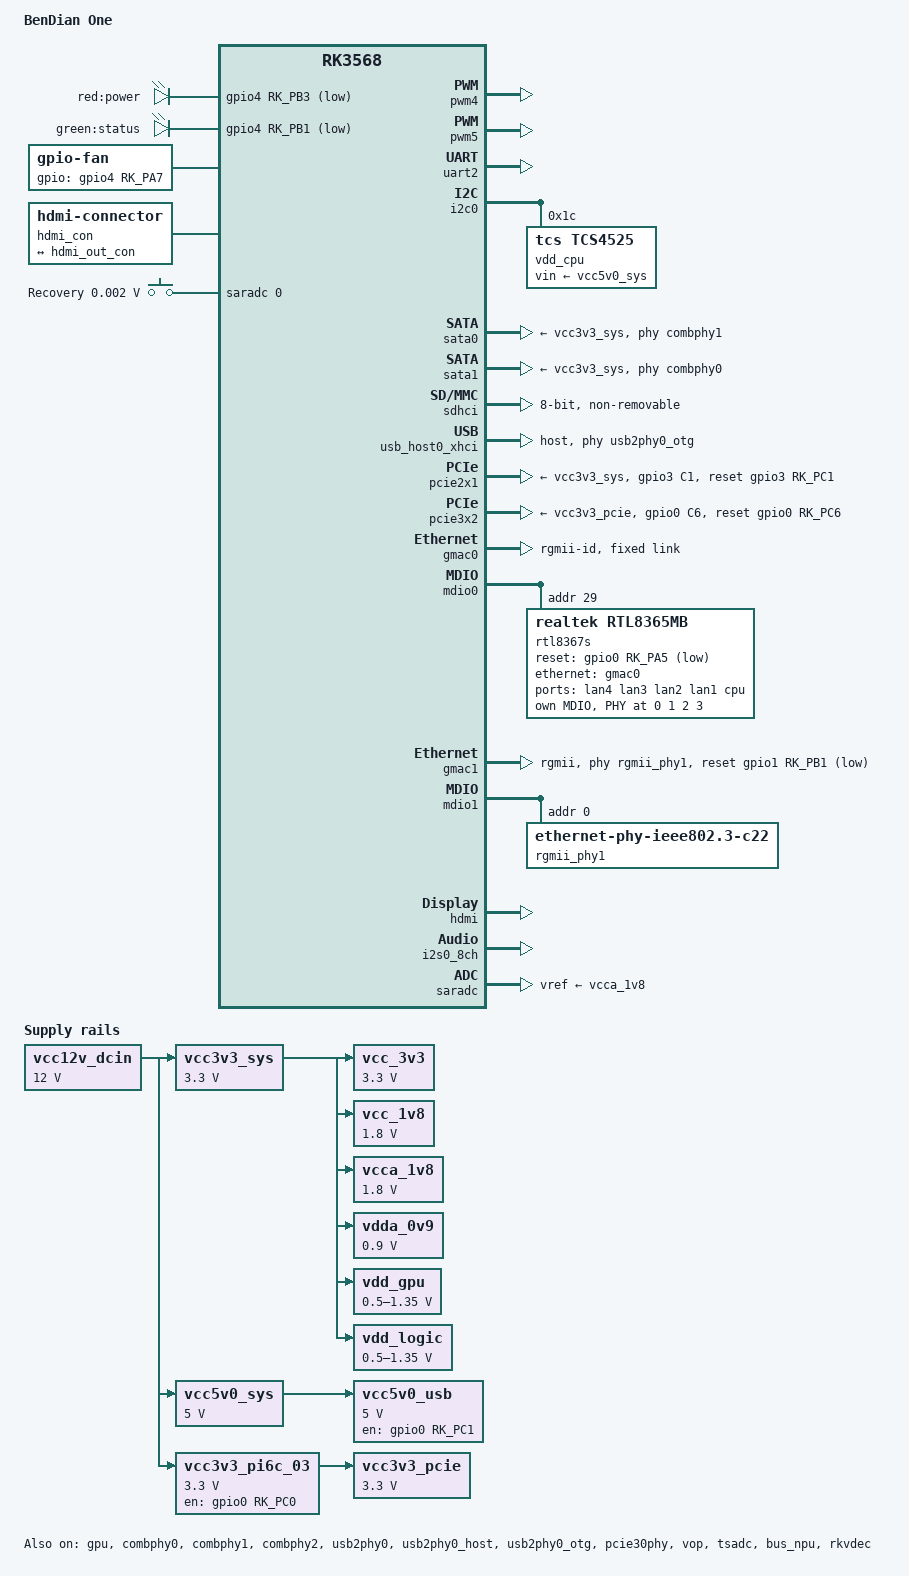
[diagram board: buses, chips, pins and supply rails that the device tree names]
// SPDX-License-Identifier: (GPL-2.0+ OR MIT)
/*
 * Device Tree for BenDian One (RK3568) - Mainline Linux 6.x Edition
 */

/dts-v1/;

#include <dt-bindings/gpio/gpio.h>
#include <dt-bindings/pwm/pwm.h>
#include <dt-bindings/input/input.h>
#include <dt-bindings/leds/common.h>
#include <dt-bindings/pinctrl/rockchip.h>
#include <dt-bindings/soc/rockchip,vop2.h>
#include <dt-bindings/thermal/thermal.h>
#include <dt-bindings/phy/phy.h>
#include "rk3568.dtsi"
#include "rk3568-vngpu.dtsi"
#include "rk3568-ramoops.dtsi"

/ {
    model = "BenDian One";
    compatible = "bendian,bd-one", "rockchip,rk3568";

    /* 正确的网卡主次：独立千兆为 WAN (ethernet0)，4口交换机为 LAN (ethernet1) */
    aliases {
        ethernet0 = &gmac0;
        ethernet1 = &gmac1;
        mmc0 = &sdhci;
        serial2 = &uart2;
    };

    chosen {
        stdout-path = "serial2:1500000n8";
    };

    reserved-memory {
        #address-cells = <2>;
        #size-cells = <2>;
        ranges;

        linux,cma {
            compatible = "shared-dma-pool";
            reusable;
            size = <0x0 0x10000000>; /* 256MB */
            linux,cma-default;
        };
    };

    /* 状态指示灯 */
    gpio-leds {
        compatible = "gpio-leds";
        pinctrl-names = "default";
        pinctrl-0 = <&power_led_pin &status_led_pin>;

        led_power: led-0 {
            label = "red:power";
            gpios = <&gpio4 RK_PB3 GPIO_ACTIVE_LOW>;
            default-state = "on";
        };

        led-1 {
            label = "green:status";
            gpios = <&gpio4 RK_PB1 GPIO_ACTIVE_LOW>;
            linux,default-trigger = "heartbeat";
        };
    };

    /* 温控风扇 */
    fan: gpio-fan {
        compatible = "gpio-fan";
        pinctrl-names = "default";
        pinctrl-0 = <&fan_pins>;
        gpios = <&gpio4 RK_PA7 GPIO_ACTIVE_HIGH>;
        gpio-fan,speed-map = <0 0>, <7500 1>;
        #cooling-cells = <2>;
        cooling-min-level = <0>;
        cooling-max-level = <1>;
        status = "okay";
    };

    hdmi_con: hdmi-con {
        compatible = "hdmi-connector";
        type = "a";
	status = "okay";

        port {
            hdmi_con_in: endpoint {
                remote-endpoint = <&hdmi_out_con>;
            };
        };
    };

    hdmi-sound {
        compatible = "simple-audio-card";
        simple-audio-card,name = "HDMI";
        simple-audio-card,format = "i2s";
        simple-audio-card,mclk-fs = <256>;
        status = "okay";

        simple-audio-card,codec {
            sound-dai = <&hdmi>;
        };

        simple-audio-card,cpu {
            sound-dai = <&i2s0_8ch>;
        };
    };

    adc-keys {
        compatible = "adc-keys";
        io-channels = <&saradc 0>;
        io-channel-names = "buttons";
        keyup-threshold-microvolt = <1800000>;
        poll-interval = <100>;

        button-recovery {
            label = "Recovery";
            linux,code = <KEY_VENDOR>;
            press-threshold-microvolt = <1750>;
        };
    };

    /* 电源架构总线 */
    vcc12v_dcin: vcc12v-dcin {
        compatible = "regulator-fixed";
        regulator-name = "vcc12v_dcin";
        regulator-always-on;
        regulator-boot-on;
        regulator-min-microvolt = <12000000>;
        regulator-max-microvolt = <12000000>;
    };

    vcc3v3_sys: vcc3v3-sys {
        compatible = "regulator-fixed";
        regulator-name = "vcc3v3_sys";
        regulator-always-on;
        regulator-boot-on;
        regulator-min-microvolt = <3300000>;
        regulator-max-microvolt = <3300000>;
        vin-supply = <&vcc12v_dcin>;
    };

    vcc5v0_sys: vcc5v0-sys {
        compatible = "regulator-fixed";
        regulator-name = "vcc5v0_sys";
        regulator-always-on;
        regulator-boot-on;
        regulator-min-microvolt = <5000000>;
        regulator-max-microvolt = <5000000>;
        vin-supply = <&vcc12v_dcin>;
    };

vcc5v0_usb: vcc5v0-usb {
    compatible = "regulator-fixed";
    regulator-name = "vcc5v0_usb";
    enable-active-high;
    gpio = <&gpio0 RK_PC1 GPIO_ACTIVE_HIGH>;
    pinctrl-names = "default";
    pinctrl-0 = <&usb_pwr_en>;

    regulator-boot-on;
    regulator-always-on;

    regulator-min-microvolt = <5000000>;
    regulator-max-microvolt = <5000000>;
    vin-supply = <&vcc5v0_sys>;
    startup-delay-us = <1000000>;

    regulator-state-mem {
        regulator-off-in-suspend;
    };
};

    vcc_3v3: vcc-3v3 {
        compatible = "regulator-fixed";
        regulator-name = "vcc_3v3";
        regulator-always-on;
        regulator-boot-on;
        regulator-min-microvolt = <3300000>;
        regulator-max-microvolt = <3300000>;
        vin-supply = <&vcc3v3_sys>;
    };

    vcc_1v8: vcc-1v8 {
        compatible = "regulator-fixed";
        regulator-name = "vcc_1v8";
        regulator-always-on;
        regulator-boot-on;
        regulator-min-microvolt = <1800000>;
        regulator-max-microvolt = <1800000>;
        vin-supply = <&vcc3v3_sys>;
    };

    vcca_1v8: vcca-1v8 {
        compatible = "regulator-fixed";
        regulator-name = "vcca_1v8";
        regulator-always-on;
        regulator-boot-on;
        regulator-min-microvolt = <1800000>;
        regulator-max-microvolt = <1800000>;
        vin-supply = <&vcc3v3_sys>;
    };

    vdda_0v9: vdda-0v9 {
        compatible = "regulator-fixed";
        regulator-name = "vdda_0v9";
        regulator-always-on;
        regulator-boot-on;
        regulator-min-microvolt = <900000>;
        regulator-max-microvolt = <900000>;
        vin-supply = <&vcc3v3_sys>;
    };

    /* NVMe SSD 独立供电链 */
    vcc3v3_pi6c_03: vcc3v3-pi6c-03 {
        compatible = "regulator-fixed";
        regulator-name = "vcc3v3_pi6c_03";
        enable-active-high;
        gpio = <&gpio0 RK_PC0 GPIO_ACTIVE_HIGH>;
        pinctrl-names = "default";
        pinctrl-0 = <&ssd_pwr_en>;
        regulator-min-microvolt = <3300000>;
        regulator-max-microvolt = <3300000>;
        vin-supply = <&vcc12v_dcin>;
        startup-delay-us = <200000>;
    };

    vcc3v3_pcie: vcc3v3-pcie {
        compatible = "regulator-fixed";
        regulator-name = "vcc3v3_pcie";
        regulator-always-on;
        regulator-boot-on;
        regulator-min-microvolt = <3300000>;
        regulator-max-microvolt = <3300000>;
        vin-supply = <&vcc3v3_pi6c_03>;
    };

    /* 真实硬件：PWM4 调压 GPU */
    vdd_gpu: vdd-gpu {
        compatible = "pwm-regulator";
        pwms = <&pwm4 0 5000 1>;
        pwm-supply = <&vcc3v3_sys>;
        regulator-name = "vdd_gpu";
        regulator-always-on;
        regulator-boot-on;
        regulator-init-microvolt = <900000>;
        regulator-min-microvolt = <500000>;
        regulator-max-microvolt = <1350000>;
        regulator-ramp-delay = <6001>;
        regulator-settling-time-up-us = <250>;
    };

    /* 真实硬件：PWM5 调压 Logic */
    vdd_logic: vdd-logic {
        compatible = "pwm-regulator";
        pwms = <&pwm5 0 5000 1>;
        pwm-supply = <&vcc3v3_sys>;
        regulator-name = "vdd_logic";
        regulator-always-on;
        regulator-boot-on;
        regulator-init-microvolt = <900000>;
        regulator-min-microvolt = <500000>;
        regulator-max-microvolt = <1350000>;
        regulator-ramp-delay = <6001>;
        regulator-settling-time-up-us = <250>;
    };
};

/* 开启用于调压的硬件 PWM4 & PWM5 */
&pwm4 { status = "okay"; };
&pwm5 { status = "okay"; };

/* 彻底禁用占用了 WAN 口引脚的 UART3，以及不存在的 I2C5/UART5 */
&uart3 { status = "disabled"; };
&uart5 { status = "disabled"; };
&i2c5 {
    /delete-property/ pinctrl-names;
    /delete-property/ pinctrl-0;
    status = "disabled";
};
&uart2 { status = "okay"; };

/* CPU 电源管理：板载真实 TCS4525 */
&i2c0 {
    status = "okay";

    vdd_cpu: regulator@1c {
        compatible = "tcs,tcs4525";
        reg = <0x1c>;
        fcs,suspend-voltage-selector = <1>;
        regulator-name = "vdd_cpu";
        regulator-always-on;
        regulator-boot-on;
        regulator-init-microvolt = <900000>;
        regulator-min-microvolt = <712500>;
        regulator-max-microvolt = <1390000>;
        regulator-ramp-delay = <2300>;
        vin-supply = <&vcc5v0_sys>;

        regulator-state-mem {
            regulator-off-in-suspend;
        };
    };
};

&cpu0 { cpu-supply = <&vdd_cpu>; };
&cpu1 { cpu-supply = <&vdd_cpu>; };
&cpu2 { cpu-supply = <&vdd_cpu>; };
&cpu3 { cpu-supply = <&vdd_cpu>; };

/* GPU：挂载 PWM4 调压轨，支持主线内核 Panfrost 驱动 */
&gpu {
    mali-supply = <&vdd_gpu>;
    status = "okay";
};

/* Combo PHY */
&combphy0 { status = "okay"; };
&combphy1 { status = "okay"; };
&combphy2 { status = "okay"; };

/* 双原生 SATA */
&sata0 {
    status = "okay";
    ahci-supply = <&vcc3v3_sys>;
    phy-supply = <&vcc3v3_sys>;
    target-supply = <&vcc3v3_sys>;
    phys = <&combphy1 PHY_TYPE_SATA>;
    phy-names = "sata-phy";
};

&sata1 {
    status = "okay";
    ahci-supply = <&vcc3v3_sys>;
    phy-supply = <&vcc3v3_sys>;
    target-supply = <&vcc3v3_sys>;
    phys = <&combphy0 PHY_TYPE_SATA>;
    phy-names = "sata-phy";
};

/* eMMC */
&sdhci {
    bus-width = <8>;
    max-frequency = <200000000>;
    non-removable;
    mmc-hs200-1_8v;
    pinctrl-names = "default";
    pinctrl-0 = <&emmc_bus8 &emmc_clk &emmc_cmd>;
    status = "okay";
};

/* USB 控制器 */
&usb2phy0 { status = "okay"; };
&usb2phy0_host {
    phy-supply = <&vcc5v0_usb>;
    status = "okay";
};
&usb2phy0_otg {
    phy-supply = <&vcc5v0_usb>;
    status = "okay";
};

&usb_host0_xhci {
    dr_mode = "host";
    phys = <&usb2phy0_otg>, <&usb2phy0_host>;
    phy-names = "usb2-phy", "usb2-phy";
    extcon = <&usb2phy0>;
    maximum-speed = "high-speed";
    snps,dis_u2_susphy_quirk;
    status = "okay";
};

&usb_host0_ehci { status = "disabled"; };
&usb_host0_ohci { status = "disabled"; };
&usb2phy1 { status = "disabled"; };

/* PCIe */
&pcie2x1 {
    reset-gpios = <&gpio3 RK_PC1 GPIO_ACTIVE_HIGH>;
    vpcie3v3-supply = <&vcc3v3_sys>;
    pinctrl-names = "default";
    pinctrl-0 = <&pcie20_reset_pin>;
    status = "okay";
};

&pcie30phy { status = "okay"; };
&pcie3x2 {
    reset-gpios = <&gpio0 RK_PC6 GPIO_ACTIVE_HIGH>;
    vpcie3v3-supply = <&vcc3v3_pcie>;
    pinctrl-names = "default";
    pinctrl-0 = <&pcie30_reset_pin>;
    rockchip,perst-inactive-ms = <500>;
/* 暂不使用旧 BSP 的 PCIe ranges，先测试 Linux 6.x 默认窗口映射。 */
/*
ranges = <0x01000000 0x00 0xf0100000 0x00 0xf0100000 0x00 0x00100000>,
         <0x02000000 0x00 0xf0200000 0x00 0xf0200000 0x00 0x01e00000>,
         <0x03000000 0x00 0x40000000 0x03 0x80000000 0x00 0x40000000>;
*/
    status = "okay";
};

/* GMAC0: 4口交换机 (LAN1~LAN4) */
&gmac0 {
    assigned-clocks = <&cru SCLK_GMAC0_RX_TX>, <&cru SCLK_GMAC0>;
    assigned-clock-parents = <&cru SCLK_GMAC0_RGMII_SPEED>, <&cru CLK_MAC0_2TOP>;
    assigned-clock-rates = <0>, <125000000>;
    clock_in_out = "output";
    phy-mode = "rgmii-id";
    pinctrl-names = "default";
    pinctrl-0 = <&gmac0_miim &gmac0_tx_bus2 &gmac0_rx_bus2 &gmac0_rgmii_clk &gmac0_rgmii_bus>;
    tx_delay = <0x3c>;
    rx_delay = <0x2f>;
    status = "okay";

    fixed-link {
        speed = <1000>;
        full-duplex;
    };
};

&mdio0 {
    compatible = "snps,dwmac-mdio";
    #address-cells = <1>;
    #size-cells = <0>;

    rtl8367s: switch@1d {
        compatible = "realtek,rtl8365mb";
        reg = <0x1d>;
        reset-gpios = <&gpio0 RK_PA5 GPIO_ACTIVE_LOW>;
        reset-assert-us = <50000>;
        reset-deassert-us = <200000>;
        pinctrl-names = "default";
        pinctrl-0 = <&gmac0_reset>;

        switch_intc: interrupt-controller {
            #address-cells = <0>;
            #interrupt-cells = <1>;
            interrupt-controller;
        };

        mdio {
            compatible = "realtek,smi-mdio";
            #address-cells = <1>;
            #size-cells = <0>;

            phy0: ethernet-phy@0 { reg = <0>; };
            phy1: ethernet-phy@1 { reg = <1>; };
            phy2: ethernet-phy@2 { reg = <2>; };
            phy3: ethernet-phy@3 { reg = <3>; };
        };

        ports {
            #address-cells = <1>;
            #size-cells = <0>;

            port@0 {
                reg = <0>;
                label = "lan4";
                phy-mode = "internal";
                phy-handle = <&phy0>;
            };

            port@1 {
                reg = <1>;
                label = "lan3";
                phy-mode = "internal";
                phy-handle = <&phy1>;
            };

            port@2 {
                reg = <2>;
                label = "lan2";
                phy-mode = "internal";
                phy-handle = <&phy2>;
            };

            port@3 {
                reg = <3>;
                label = "lan1";
                phy-mode = "internal";
                phy-handle = <&phy3>;
            };

            port@7 {
                reg = <7>;
                label = "cpu";
                ethernet = <&gmac0>;
                phy-mode = "rgmii-id";

                fixed-link {
                    speed = <1000>;
                    full-duplex;
                };
            };
        };
    };
};

/* GMAC1: 独立千兆 WAN 口 (解除引脚冲突) */
&gmac1 {
    assigned-clocks = <&cru SCLK_GMAC1_RX_TX>, <&cru SCLK_GMAC1>;
    assigned-clock-parents = <&cru SCLK_GMAC1_RGMII_SPEED>;
    assigned-clock-rates = <0>, <125000000>;
    clock_in_out = "output";
    phy-mode = "rgmii";
    phy-handle = <&rgmii_phy1>;
    pinctrl-names = "default";
    pinctrl-0 = <&gmac1m0_miim &gmac1m0_tx_bus2 &gmac1m0_rx_bus2 &gmac1m0_rgmii_clk &gmac1m0_rgmii_bus>;
    snps,reset-gpio = <&gpio1 RK_PB1 GPIO_ACTIVE_LOW>;
    snps,reset-active-low;
    snps,reset-delays-us = <0 20000 100000>;
    tx_delay = <0x30>;
    rx_delay = <0x10>;
    status = "okay";
};

&mdio1 {
    rgmii_phy1: ethernet-phy@0 {
        compatible = "ethernet-phy-ieee802.3-c22";
        reg = <0>;
        realtek,led-data = <0x17b>;
    };
};

/* CPU 温控 */
&cpu_thermal {


    polling-delay = <1000>;
    polling-delay-passive = <250>;

    /delete-node/ trips;
    /delete-node/ cooling-maps;

    trips {
        /* 65°C 开全速；温度低于 60°C 才停止 */
        cpu_fan_on: cpu-fan-on {
            temperature = <65000>;
            hysteresis = <5000>;
            type = "active";
        };

        /* 75°C 开始温和限频 */
        cpu_alert0: cpu-alert0 {
            temperature = <75000>;
            hysteresis = <5000>;
            type = "passive";
        };

        /* 85°C 明显限频 */
        cpu_alert1: cpu-alert1 {
            temperature = <85000>;
            hysteresis = <2000>;
            type = "passive";
        };

        /* 95°C 热保护 */
        cpu_crit: cpu-crit {
            temperature = <95000>;
            hysteresis = <2000>;
            type = "critical";
        };
    };

    cooling-maps {
        map_fan {
            trip = <&cpu_fan_on>;
            cooling-device = <&fan 1 1>;
        };

        map_cpu_mild {
            trip = <&cpu_alert0>;
            cooling-device =
                <&cpu0 THERMAL_NO_LIMIT 2>,
                <&cpu1 THERMAL_NO_LIMIT 2>,
                <&cpu2 THERMAL_NO_LIMIT 2>,
                <&cpu3 THERMAL_NO_LIMIT 2>;
        };

        map_cpu_heavy {
            trip = <&cpu_alert1>;
            cooling-device =
                <&cpu0 2 THERMAL_NO_LIMIT>,
                <&cpu1 2 THERMAL_NO_LIMIT>,
                <&cpu2 2 THERMAL_NO_LIMIT>,
                <&cpu3 2 THERMAL_NO_LIMIT>;
        };
    };
};

/* GPU 温控：先开风扇，再限制 GPU */
&gpu_thermal {

    polling-delay = <1000>;
    polling-delay-passive = <250>;

    /delete-node/ trips;
    /delete-node/ cooling-maps;

    trips {
        /* GPU 达 65°C：风扇全速；低于 60°C 才关闭 */
        gpu_fan_on: gpu-fan-on {
            temperature = <65000>;
            hysteresis = <5000>;
            type = "active";
        };

        /* GPU 达 75°C：开始限制 GPU OPP */
        gpu_alert: gpu-alert {
            temperature = <75000>;
            hysteresis = <2000>;
            type = "passive";
        };

        /* GPU 达 95°C：保护动作 */
        gpu_crit: gpu-crit {
            temperature = <95000>;
            hysteresis = <2000>;
            type = "critical";
        };
    };

    cooling-maps {
        map_fan {
            trip = <&gpu_fan_on>;
            cooling-device = <&fan 1 1>;
        };

        map_gpu {
            trip = <&gpu_alert>;
            cooling-device = <&gpu THERMAL_NO_LIMIT THERMAL_NO_LIMIT>;
        };
    };
};

&hdmi {
    status = "okay";
    #sound-dai-cells = <0>;

    avdd-0v9-supply = <&vdda_0v9>;
    avdd-1v8-supply = <&vcca_1v8>;

    pinctrl-names = "default";
    pinctrl-0 = <&hdmitx_scl>,
                <&hdmitx_sda>,
                <&hdmitxm0_cec>;

    rockchip,phy-table =
        <92812500  0x8009 0x0000 0x0270>,
        <165000000 0x800b 0x0000 0x026d>,
        <185625000 0x800b 0x0000 0x01ed>,
        <297000000 0x8019 0x0000 0x01ad>,
        <594000000 0x8039 0x0000 0x019d>;
};

&vop {
    assigned-clocks = <&cru DCLK_VOP0>, <&cru DCLK_VOP1>;
    assigned-clock-parents = <&pmucru PLL_HPLL>, <&cru PLL_VPLL>;
    status = "okay";
};

&hdmi_in {
    hdmi_in_vp0: endpoint {
        remote-endpoint = <&vp0_out_hdmi>;
    };
};

&hdmi_out {
    hdmi_out_con: endpoint {
        remote-endpoint = <&hdmi_con_in>;
    };
};

&vp0 {
    vp0_out_hdmi: endpoint {
        remote-endpoint = <&hdmi_in_vp0>;
    };
};

&vop_mmu {
    status = "okay";
};

&i2s0_8ch { status = "okay"; };
&saradc {
    vref-supply = <&vcca_1v8>;
    status = "okay";
};

&tsadc {
    rockchip,hw-tshut-mode = <1>;
    rockchip,hw-tshut-polarity = <0>;
    status = "okay";
};

&pmu_io_domains {
    pmuio1-supply = <&vcc_3v3>;
    pmuio2-supply = <&vcc_3v3>;
    vccio1-supply = <&vcc_3v3>;
    vccio2-supply = <&vcc_1v8>;
    vccio3-supply = <&vcc_3v3>;
    vccio4-supply = <&vcc_1v8>;
    vccio5-supply = <&vcc_3v3>;
    vccio6-supply = <&vcc_1v8>;
    vccio7-supply = <&vcc_3v3>;
    status = "okay";
};

&pinctrl {
    fan {
        fan_pins: fan-pins {
            rockchip,pins = <4 RK_PA7 RK_FUNC_GPIO &pcfg_pull_none>;
        };
    };

    gpio-leds {
        power_led_pin: power-led-pin {
            rockchip,pins = <4 RK_PB3 RK_FUNC_GPIO &pcfg_pull_none>;
        };

        status_led_pin: status-led-pin {
            rockchip,pins = <4 RK_PB1 RK_FUNC_GPIO &pcfg_pull_none>;
        };
    };

pcie {
    /* M.2/NVMe 3.3 V 供电使能：GPIO0_C0 */
    ssd_pwr_en: ssd-pwr-en {
        rockchip,pins = <0 RK_PC0 RK_FUNC_GPIO &pcfg_pull_none>;
    };

    /* M.2/NVMe 的 PERST#：GPIO0_C6 */
    pcie30_reset_pin: pcie30-reset-pin {
        rockchip,pins = <0 RK_PC6 RK_FUNC_GPIO &pcfg_pull_none>;
    };

    /* PCIe 2.0 x1 的 reset：GPIO3_C1 */
    pcie20_reset_pin: pcie20-reset-pin {
        rockchip,pins = <3 RK_PC1 RK_FUNC_GPIO &pcfg_pull_none>;
    };
};

    usb {
        usb_pwr_en: usb-pwr-en {
            rockchip,pins = <0 RK_PC1 RK_FUNC_GPIO &pcfg_pull_down>;
        };
    };

    gmac-reset {
        gmac0_reset: gmac0-reset {
            /* rockchip,pins = <0 RK_PA5 RK_FUNC_GPIO &pcfg_pull_none>;优化：将 pinctrl 改为弱上拉 &pcfg_pull_up，防止交换机开机偶发丢包或识别不到：*/

	    rockchip,pins = <0 RK_PA5 RK_FUNC_GPIO &pcfg_pull_up>;
        };
    };
};  /* 这一行必须存在，关闭 &pinctrl */

/* Mali-G52 GPU */
&gpu {
    mali-supply = <&vdd_gpu>;
    operating-points-v2 = <&gpu_opp_table>;
    power-off-delay-ms = <20>;
    status = "okay";
};

/* RKNPU 神经网络加速及动态调频 */
&{/npu@fde40000} {
    rknpu-supply = <&vdd_logic>;
    operating-points-v2 = <&npu_opp_table>;
    status = "okay";
};

&rknpu_mmu {
    status = "okay";
};

&bus_npu {
    bus-supply = <&vdd_logic>;
    operating-points-v2 = <&bus_npu_opp_table>;
    status = "okay";
};

/* VPU 视频硬件解码动态调频 */
&rkvdec {
    vdec-supply = <&vdd_logic>;
    operating-points-v2 = <&rkvdec_opp_table>;
    status = "okay";
};
